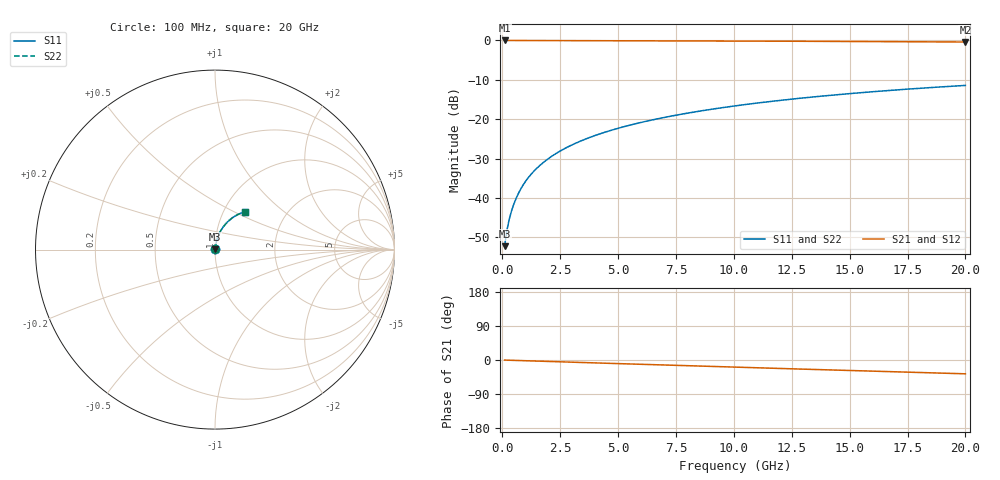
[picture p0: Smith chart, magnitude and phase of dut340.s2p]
! Touchstone file exported from HFSS 2026.1.0
!  File:  C:/ffzhzh/LocalFiles/Ansys_Project_Files/temp_train_BSMRDL_340_1783011207_46388.aedt
!  Generated:  12:54:52 AM Jul  3, 2026
!  Design:  BSMRDL
!  Project:  temp_train_BSMRDL_340_1783011207_46388
! Variables:
!  h_bsmrdl = 5.28um
!  h_ox = 20um
!  h_rdl = 5um
!  h_sub = 80um
!  h_tmrdl = 5um
!  h_tsv = 80um
!  h_via = 3um
!  l_bsmrdl = 566.6um
!  l_sub = 966.6um
!  l_tmrdl = 200um
!  m_sub = 200um
!  pitch = 46.93um
!  r_tsv = 6um
!  s_tmrdl = 10um
!  w_bsmrdl = 26.06um
!  w_sub = 500um
!  w_tmrdl = 12um
!  x_tsv_center1 = 206um
!  x_tsv_center2 = 798.66um
!  x_tsv_center3 = 1010.66um
!  x_tsv_center4 = 1603.32um
!  x_tsv_center5 = 1815.32um
!  x_tsv_center6 = 2407.98um
# GHz S MA R 50.000000
! Terminal data exported
! Port[1] = BSM_RDL1_1_T1
! Port[2] = BSM_RDL1_1_T2
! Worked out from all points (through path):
!   200 points, 100 MHz to 20 GHz, reference 50 ohm
!   highest |S21| = -0.01 dB at 100 MHz (marker M1); lowest = -0.4 dB at 20 GHz (marker M2)
!   group delay of S21, straight-line fit = 5.06 ps
!   lowest |S11| = -52.2 dB at 100 MHz (marker M3), VSWR 1.00, Z = 50.2 + j0.18 ohm
!   |S11| at or under -10 dB: start of sweep to end of sweep
!   |S22| runs from -52.2 to -11.4 dB; largest |S21 - S12| = 2.7e-15
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0.1  0.00245 47.0  0.9983 -0.2  0.9983 -0.2  0.00245 47.0
! Gamma 0 0 0 0
! Port Impedance 50 0 50 0
0.2  0.003893 61.7  0.9982 -0.4  0.9982 -0.4  0.003893 61.7
0.3  0.005376 68.5  0.9981 -0.6  0.9981 -0.6  0.005376 68.5
0.4  0.006881 72.4  0.998 -0.8  0.998 -0.8  0.006881 72.4
0.5  0.008408 75.0  0.9979 -1.0  0.9979 -1.0  0.008408 75.0
0.6  0.00995 76.8  0.9979 -1.2  0.9979 -1.2  0.00995 76.8
0.8  0.01306 78.9  0.9978 -1.6  0.9978 -1.6  0.01306 78.9
1.1  0.01776 80.4  0.9976 -2.1  0.9976 -2.1  0.01776 80.4
1.3  0.02089 80.9  0.9974 -2.5  0.9974 -2.5  0.02089 80.9
1.5  0.02402 81.1  0.9972 -2.9  0.9972 -2.9  0.02402 81.1
1.8  0.02869 81.1  0.9969 -3.5  0.9969 -3.5  0.02869 81.1
2.1  0.03334 81.0  0.9966 -4.1  0.9966 -4.1  0.03334 81.0
2.7  0.04253 80.3  0.9958 -5.2  0.9958 -5.2  0.04253 80.4
3.5  0.05459 79.2  0.9946 -6.7  0.9946 -6.7  0.05459 79.2
4.2  0.06499 78.1  0.9935 -8.0  0.9935 -8.0  0.06499 78.1
5  0.07671 76.9  0.9922 -9.5  0.9922 -9.5  0.07671 76.9
6.8  0.1026 73.9  0.989 -12.9  0.989 -12.9  0.1026 73.9
8.3  0.1236 71.4  0.9859 -15.6  0.9859 -15.6  0.1236 71.4
10.1  0.1482 68.4  0.9819 -18.9  0.9819 -18.9  0.1482 68.4
13.4  0.1913 62.7  0.9735 -24.9  0.9735 -24.9  0.1913 62.8
16.7  0.2315 57.1  0.9641 -30.7  0.9641 -30.7  0.2315 57.2
20  0.2684 51.6  0.954 -36.4  0.954 -36.4  0.2684 51.6
